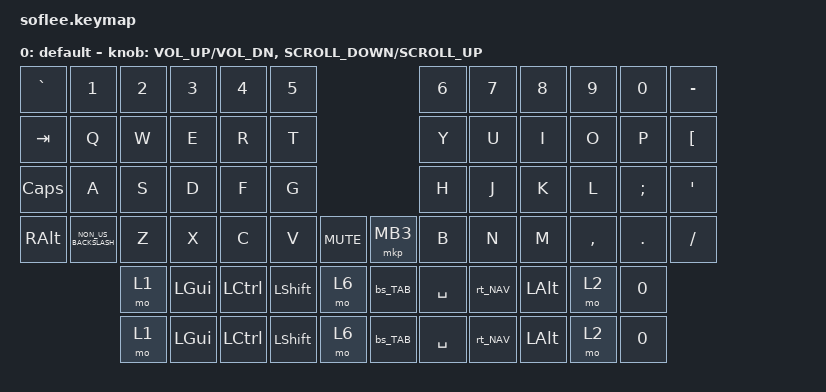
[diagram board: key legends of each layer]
/*
 * Copyright (c) 2020 The ZMK Contributors
 *
 * SPDX-License-Identifier: MIT
 */

#include <behaviors.dtsi>
#include <dt-bindings/zmk/bt.h>
#include <dt-bindings/zmk/ext_power.h>
#include <dt-bindings/zmk/keys.h>
#include <dt-bindings/zmk/pointing.h>
#include <dt-bindings/zmk/rgb.h>

#define BASE 0
#define LOWER 1
#define RAISE 2
#define ADJUST 3

/ {
    // Activate ADJUST layer by pressing raise and lower

    conditional_layers {
        compatible = "zmk,conditional-layers";

        adjust_layer {
            if-layers = <1 2>;
            then-layer = <3>;
        };
    };

    macros {
        lm: lm {
            compatible = "zmk,behavior-macro-two-param";
            #binding-cells = <2>;
            bindings =
                <&macro_param_1to1>,
                <&macro_press>,
                <&mo MACRO_PLACEHOLDER &macro_param_2to1>,
                <&macro_press>,
                <&kp MACRO_PLACEHOLDER>,
                <&macro_pause_for_release>,
                <&macro_param_2to1>,
                <&macro_release>,
                <&kp MACRO_PLACEHOLDER &macro_param_1to1>,
                <&macro_release>,
                <&mo MACRO_PLACEHOLDER>;

            label = "LM";
        };

        curly: curly {
            compatible = "zmk,behavior-macro";
            #binding-cells = <0>;
            bindings = <&kp RA(N7) &kp RA(N0) &kp LEFT>;
            label = "CURLY";
        };

        paran: paran {
            compatible = "zmk,behavior-macro";
            #binding-cells = <0>;
            bindings = <&kp LS(N8) &kp LS(N9) &kp LEFT>;
            label = "PARAN";
        };

        angle: angle {
            compatible = "zmk,behavior-macro";
            #binding-cells = <0>;
            bindings = <&kp NON_US_BACKSLASH &kp LS(NON_US_BACKSLASH) &kp LEFT>;
            label = "angle";
        };

        brackets: brackets {
            compatible = "zmk,behavior-macro";
            #binding-cells = <0>;
            bindings = <&kp RA(N8) &kp RA(N9) &kp LEFT>;
            label = "BRACKETS";
        };

        abs: abs {
            compatible = "zmk,behavior-macro";
            #binding-cells = <0>;
            bindings = <&kp RA(NON_US_BACKSLASH) &kp RA(NON_US_BACKSLASH) &kp LEFT>;
            label = "ABS";
        };

        comO: comO {
            compatible = "zmk,behavior-macro";
            #binding-cells = <0>;
            bindings = <&kp LS(N7) &kp LS(RIGHT_BRACKET)>;
            label = "COMO";
        };

        comC: comC {
            compatible = "zmk,behavior-macro";
            #binding-cells = <0>;
            bindings = <&kp LS(RIGHT_BRACKET) &kp LS(N7)>;
            label = "COMC";
        };

        code: code {
            compatible = "zmk,behavior-macro";
            #binding-cells = <0>;
            bindings = <&kp LS(EQUAL) &kp LS(EQUAL) &kp LS(EQUAL) &kp SPACE>;
            label = "CODE";
        };

        quote: quote {
            compatible = "zmk,behavior-macro";
            #binding-cells = <0>;
            bindings = <&kp LS(N2) &kp LS(N2) &kp LEFT>;
            label = "QUOTE";
        };

        squote: squote {
            compatible = "zmk,behavior-macro";
            #binding-cells = <0>;
            bindings = <&kp LS(NON_US_HASH) &kp LS(NON_US_HASH) &kp LEFT>;
            label = "SQUOTE";
        };

        max: max {
            compatible = "zmk,behavior-macro";
            #binding-cells = <0>;
            bindings = <&kp LA(SPACE) &kp X>;
            label = "MAX";
        };

        min: min {
            compatible = "zmk,behavior-macro";
            #binding-cells = <0>;
            bindings = <&kp LA(SPACE) &kp N>;
            label = "MIN";
        };

        res: res {
            compatible = "zmk,behavior-macro";
            #binding-cells = <0>;
            bindings = <&kp LA(SPACE) &kp R>;
            label = "RES";
        };
    };

    behaviors {
        bs_TAB: bs_TAB {
            compatible = "zmk,behavior-tap-dance";
            label = "BS_TAB";
            #binding-cells = <0>;
            bindings = <&lt 4 BACKSPACE>, <&kp BACKSPACE>;

            tapping-term-ms = <50>;
        };

        rt_NAV: rt_NAV {
            compatible = "zmk,behavior-tap-dance";
            label = "RT_NAV";
            #binding-cells = <0>;
            bindings = <&lt 7 RET>, <&kp RET>;

            tapping-term-ms = <50>;
        };
    };

    keymap {
        compatible = "zmk,keymap";

        default_layer {
            label = "default";

            // ------------------------------------------------------------------------------------------------------------
            // |   `   |  1  |  2  |  3   |  4   |  5   |                   |  6   |  7    |  8    |  9   |   0   |       |
            // |  ESC  |  Q  |  W  |  E   |  R   |  T   |                   |  Y   |  U    |  I    |  O   |   P   | BKSPC |
            // |  TAB  |  A  |  S  |  D   |  F   |  G   |                   |  H   |  J    |  K    |  L   |   ;   |   '   |
            // | SHIFT |  Z  |  X  |  C   |  V   |  B   |  MUTE  |  |       |  N   |  M    |  ,    |  .   |   /   | SHIFT |
            //               | GUI | ALT  | CTRL | LOWER|  ENTER |  | SPACE | RAISE| CTRL  | ALT   | GUI  |

            bindings = <
&kp GRAVE      &kp N1                &kp N2  &kp N3        &kp N4     &kp N5                                  &kp N6     &kp N7   &kp N8        &kp N9     &kp N0      &kp MINUS
&kp TAB        &kp Q                 &kp W   &kp E         &kp R      &kp T                                   &kp Y      &kp U    &kp I         &kp O      &kp P       &kp LEFT_BRACKET
&kp CAPS       &kp A                 &kp S   &kp D         &kp F      &kp G                                   &kp H      &kp J    &kp K         &kp L      &kp SEMI    &kp SQT
&kp RIGHT_ALT  &kp NON_US_BACKSLASH  &kp Z   &kp X         &kp C      &kp V           &kp K_MUTE    &mkp MB3  &kp B      &kp N    &kp M         &kp COMMA  &kp PERIOD  &kp SLASH
                                     &mo 1   &kp LEFT_GUI  &kp LCTRL  &kp LEFT_SHIFT  &mo 6         &bs_TAB   &kp SPACE  &rt_NAV  &kp LEFT_ALT  &mo 2    &kp N0
                                     &mo 1   &kp LEFT_GUI  &kp LCTRL  &kp LEFT_SHIFT  &mo 6         &bs_TAB   &kp SPACE  &rt_NAV  &kp LEFT_ALT  &mo 2    &kp N0
            >;

            sensor-bindings =
                <&inc_dec_kp C_VOL_UP C_VOL_DN>,
                <&inc_dec_kp K_SCROLL_DOWN K_SCROLL_UP>;
        };

    };
};
